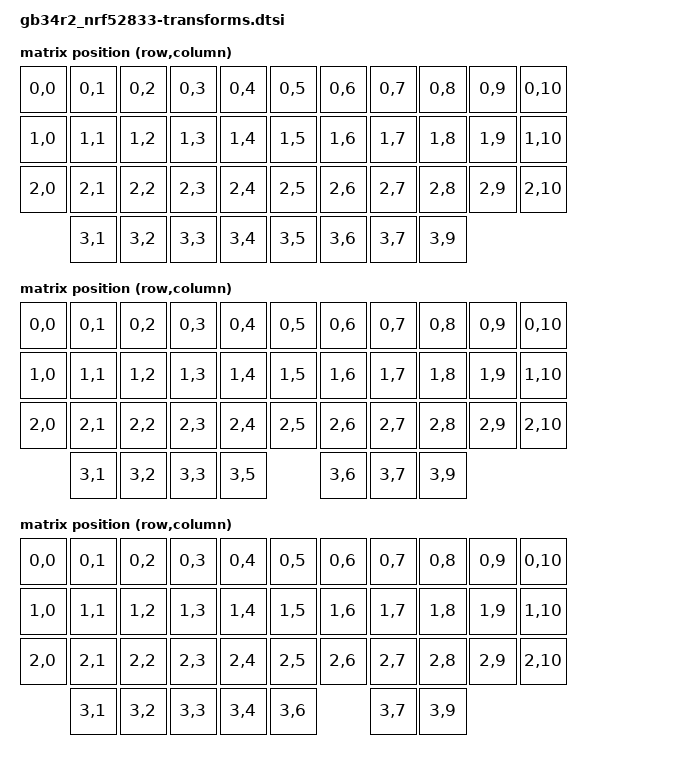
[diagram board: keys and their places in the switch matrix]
/*
 * Copyright (c) 2025 The ZMK Contributors
 *
 * SPDX-License-Identifier: MIT
 */

#include <dt-bindings/zmk/matrix_transform.h>

/ {

    /omit-if-no-ref/ transform_ortho_all1u: transform_ortho_all1u {
        compatible = "zmk,matrix-transform";
        columns = <11>;
        rows = <4>;
        map = <
    RC(0,0) RC(0,1) RC(0,2) RC(0,3) RC(0,4) RC(0,5) RC(0,6) RC(0,7) RC(0,8) RC(0,9) RC(0,10)
    RC(1,0) RC(1,1) RC(1,2) RC(1,3) RC(1,4) RC(1,5) RC(1,6) RC(1,7) RC(1,8) RC(1,9) RC(1,10)
    RC(2,0) RC(2,1) RC(2,2) RC(2,3) RC(2,4) RC(2,5) RC(2,6) RC(2,7) RC(2,8) RC(2,9) RC(2,10)
            RC(3,1) RC(3,2) RC(3,3) RC(3,4) RC(3,5) RC(3,6) RC(3,7) RC(3,9)
        >;
    };

    /omit-if-no-ref/ transform_ortho_1x2u: transform_ortho_1x2u {
        compatible = "zmk,matrix-transform";
        columns = <11>;
        rows = <4>;
        map = <
    RC(0,0) RC(0,1) RC(0,2) RC(0,3) RC(0,4) RC(0,5) RC(0,6) RC(0,7) RC(0,8) RC(0,9) RC(0,10)
    RC(1,0) RC(1,1) RC(1,2) RC(1,3) RC(1,4) RC(1,5) RC(1,6) RC(1,7) RC(1,8) RC(1,9) RC(1,10)
    RC(2,0) RC(2,1) RC(2,2) RC(2,3) RC(2,4) RC(2,5) RC(2,6) RC(2,7) RC(2,8) RC(2,9) RC(2,10)
            RC(3,1) RC(3,2) RC(3,3)     RC(3,5)     RC(3,6) RC(3,7) RC(3,9)
        >;
    };

    /omit-if-no-ref/ transform_ortho_1u1u2u: transform_ortho_1u1u2u {
        compatible = "zmk,matrix-transform";
        columns = <11>;
        rows = <4>;
        map = <
    RC(0,0) RC(0,1) RC(0,2) RC(0,3) RC(0,4) RC(0,5) RC(0,6) RC(0,7) RC(0,8) RC(0,9) RC(0,10)
    RC(1,0) RC(1,1) RC(1,2) RC(1,3) RC(1,4) RC(1,5) RC(1,6) RC(1,7) RC(1,8) RC(1,9) RC(1,10)
    RC(2,0) RC(2,1) RC(2,2) RC(2,3) RC(2,4) RC(2,5) RC(2,6) RC(2,7) RC(2,8) RC(2,9) RC(2,10)
            RC(3,1) RC(3,2) RC(3,3) RC(3,4)     RC(3,6)     RC(3,7) RC(3,9)
        >;
    };

    /omit-if-no-ref/ transform_ortho_2u1u1u: transform_ortho_2u1u1u {
        compatible = "zmk,matrix-transform";
        columns = <11>;
        rows = <4>;
        map = <
    RC(0,0) RC(0,1) RC(0,2) RC(0,3) RC(0,4) RC(0,5) RC(0,6) RC(0,7) RC(0,8) RC(0,9) RC(0,10)
    RC(1,0) RC(1,1) RC(1,2) RC(1,3) RC(1,4) RC(1,5) RC(1,6) RC(1,7) RC(1,8) RC(1,9) RC(1,10)
    RC(2,0) RC(2,1) RC(2,2) RC(2,3) RC(2,4) RC(2,5) RC(2,6) RC(2,7) RC(2,8) RC(2,9) RC(2,10)
            RC(3,1) RC(3,2)     RC(3,4)     RC(3,5) RC(3,6) RC(3,7) RC(3,9)
        >;
    };

    /omit-if-no-ref/ transform_ortho_2x2u: transform_ortho_2x2u {
        compatible = "zmk,matrix-transform";
        columns = <11>;
        rows = <4>;
        map = <
    RC(0,0) RC(0,1) RC(0,2) RC(0,3) RC(0,4) RC(0,5) RC(0,6) RC(0,7) RC(0,8) RC(0,9) RC(0,10)
    RC(1,0) RC(1,1) RC(1,2) RC(1,3) RC(1,4) RC(1,5) RC(1,6) RC(1,7) RC(1,8) RC(1,9) RC(1,10)
    RC(2,0) RC(2,1) RC(2,2) RC(2,3) RC(2,4) RC(2,5) RC(2,6) RC(2,7) RC(2,8) RC(2,9) RC(2,10)
            RC(3,1) RC(3,2)     RC(3,4)         RC(3,6)     RC(3,7) RC(3,9)
        >;
    };

    /omit-if-no-ref/ transform_ortho_1u1u1u3u: transform_ortho_1u1u1u3u {
        compatible = "zmk,matrix-transform";
        columns = <11>;
        rows = <4>;
        map = <
    RC(0,0) RC(0,1) RC(0,2) RC(0,3) RC(0,4) RC(0,5) RC(0,6) RC(0,7) RC(0,8) RC(0,9) RC(0,10)
    RC(1,0) RC(1,1) RC(1,2) RC(1,3) RC(1,4) RC(1,5) RC(1,6) RC(1,7) RC(1,8) RC(1,9) RC(1,10)
    RC(2,0) RC(2,1) RC(2,2) RC(2,3) RC(2,4) RC(2,5) RC(2,6) RC(2,7) RC(2,8) RC(2,9) RC(2,10)
            RC(3,1) RC(3,2) RC(3,3) RC(3,4)         RC(3,6)         RC(3,9)
        >;
    };

    /omit-if-no-ref/ transform_ortho_1u2u3u: transform_ortho_1u2u3u {
        compatible = "zmk,matrix-transform";
        columns = <11>;
        rows = <4>;
        map = <
    RC(0,0) RC(0,1) RC(0,2) RC(0,3) RC(0,4) RC(0,5) RC(0,6) RC(0,7) RC(0,8) RC(0,9) RC(0,10)
    RC(1,0) RC(1,1) RC(1,2) RC(1,3) RC(1,4) RC(1,5) RC(1,6) RC(1,7) RC(1,8) RC(1,9) RC(1,10)
    RC(2,0) RC(2,1) RC(2,2) RC(2,3) RC(2,4) RC(2,5) RC(2,6) RC(2,7) RC(2,8) RC(2,9) RC(2,10)
            RC(3,1) RC(3,2)     RC(3,5)             RC(3,6)         RC(3,9)
        >;
    };

    /omit-if-no-ref/ transform_ortho_3u1u1u1u: transform_ortho_3u1u1u1u {
        compatible = "zmk,matrix-transform";
        columns = <11>;
        rows = <4>;
        map = <
    RC(0,0) RC(0,1) RC(0,2) RC(0,3) RC(0,4) RC(0,5) RC(0,6) RC(0,7) RC(0,8) RC(0,9) RC(0,10)
    RC(1,0) RC(1,1) RC(1,2) RC(1,3) RC(1,4) RC(1,5) RC(1,6) RC(1,7) RC(1,8) RC(1,9) RC(1,10)
    RC(2,0) RC(2,1) RC(2,2) RC(2,3) RC(2,4) RC(2,5) RC(2,6) RC(2,7) RC(2,8) RC(2,9) RC(2,10)
            RC(3,1)         RC(3,3)         RC(3,5) RC(3,6) RC(3,7) RC(3,9)
        >;
    };

    /omit-if-no-ref/ transform_ortho_3u2u1u: transform_ortho_3u2u1u {
        compatible = "zmk,matrix-transform";
        columns = <11>;
        rows = <4>;
        map = <
    RC(0,0) RC(0,1) RC(0,2) RC(0,3) RC(0,4) RC(0,5) RC(0,6) RC(0,7) RC(0,8) RC(0,9) RC(0,10)
    RC(1,0) RC(1,1) RC(1,2) RC(1,3) RC(1,4) RC(1,5) RC(1,6) RC(1,7) RC(1,8) RC(1,9) RC(1,10)
    RC(2,0) RC(2,1) RC(2,2) RC(2,3) RC(2,4) RC(2,5) RC(2,6) RC(2,7) RC(2,8) RC(2,9) RC(2,10)
            RC(3,1)         RC(3,3)             RC(3,6)     RC(3,7) RC(3,9)
        >;
    };

    /omit-if-no-ref/ transform_ortho_2x3u: transform_ortho_2x3u {
        compatible = "zmk,matrix-transform";
        columns = <11>;
        rows = <4>;
        map = <
    RC(0,0) RC(0,1) RC(0,2) RC(0,3) RC(0,4) RC(0,5) RC(0,6) RC(0,7) RC(0,8) RC(0,9) RC(0,10)
    RC(1,0) RC(1,1) RC(1,2) RC(1,3) RC(1,4) RC(1,5) RC(1,6) RC(1,7) RC(1,8) RC(1,9) RC(1,10)
    RC(2,0) RC(2,1) RC(2,2) RC(2,3) RC(2,4) RC(2,5) RC(2,6) RC(2,7) RC(2,8) RC(2,9) RC(2,10)
            RC(3,1)         RC(3,3)                 RC(3,6)         RC(3,9)
        >;
    };

    /omit-if-no-ref/ transform_ortho_6u: transform_ortho_6u {
        compatible = "zmk,matrix-transform";
        columns = <11>;
        rows = <4>;
        map = <
    RC(0,0) RC(0,1) RC(0,2) RC(0,3) RC(0,4) RC(0,5) RC(0,6) RC(0,7) RC(0,8) RC(0,9) RC(0,10)
    RC(1,0) RC(1,1) RC(1,2) RC(1,3) RC(1,4) RC(1,5) RC(1,6) RC(1,7) RC(1,8) RC(1,9) RC(1,10)
    RC(2,0) RC(2,1) RC(2,2) RC(2,3) RC(2,4) RC(2,5) RC(2,6) RC(2,7) RC(2,8) RC(2,9) RC(2,10)
            RC(3,1)                     RC(3,5)                     RC(3,9)
        >;
    };

    /omit-if-no-ref/ transform_standard_all1u: transform_standard_all1u {
        compatible = "zmk,matrix-transform";
        columns = <11>;
        rows = <4>;
        map = <
    RC(0,0) RC(0,1) RC(0,2) RC(0,3) RC(0,4) RC(0,5) RC(0,6) RC(0,7) RC(0,8) RC(0,9) RC(0,10)
    RC(1,0)   RC(1,2)   RC(1,3) RC(1,4) RC(1,5) RC(1,6) RC(1,7) RC(1,8) RC(1,9)     RC(1,10)
    RC(2,0)     RC(2,1)   RC(2,2) RC(2,3) RC(2,4) RC(2,5) RC(2,6) RC(2,7) RC(2,8)   RC(2,9)
            RC(3,1) RC(3,2) RC(3,3) RC(3,4) RC(3,5) RC(3,6) RC(3,7) RC(3,9)
        >;
    };

    /omit-if-no-ref/ transform_standard_1x2u: transform_standard_1x2u {
        compatible = "zmk,matrix-transform";
        columns = <11>;
        rows = <4>;
        map = <
    RC(0,0) RC(0,1) RC(0,2) RC(0,3) RC(0,4) RC(0,5) RC(0,6) RC(0,7) RC(0,8) RC(0,9) RC(0,10)
    RC(1,0)   RC(1,2)   RC(1,3) RC(1,4) RC(1,5) RC(1,6) RC(1,7) RC(1,8) RC(1,9)     RC(1,10)
    RC(2,0)     RC(2,1)   RC(2,2) RC(2,3) RC(2,4) RC(2,5) RC(2,6) RC(2,7) RC(2,8)   RC(2,9)
            RC(3,1) RC(3,2) RC(3,3)     RC(3,5)     RC(3,6) RC(3,7) RC(3,9)
        >;
    };

    /omit-if-no-ref/ transform_standard_1u1u2u: transform_standard_1u1u2u {
        compatible = "zmk,matrix-transform";
        columns = <11>;
        rows = <4>;
        map = <
    RC(0,0) RC(0,1) RC(0,2) RC(0,3) RC(0,4) RC(0,5) RC(0,6) RC(0,7) RC(0,8) RC(0,9) RC(0,10)
    RC(1,0)   RC(1,2)   RC(1,3) RC(1,4) RC(1,5) RC(1,6) RC(1,7) RC(1,8) RC(1,9)     RC(1,10)
    RC(2,0)     RC(2,1)   RC(2,2) RC(2,3) RC(2,4) RC(2,5) RC(2,6) RC(2,7) RC(2,8)   RC(2,9)
            RC(3,1) RC(3,2) RC(3,3) RC(3,4)     RC(3,6)     RC(3,7) RC(3,9)
        >;
    };

    /omit-if-no-ref/ transform_standard_2u1u1u: transform_standard_2u1u1u {
        compatible = "zmk,matrix-transform";
        columns = <11>;
        rows = <4>;
        map = <
    RC(0,0) RC(0,1) RC(0,2) RC(0,3) RC(0,4) RC(0,5) RC(0,6) RC(0,7) RC(0,8) RC(0,9) RC(0,10)
    RC(1,0)   RC(1,2)   RC(1,3) RC(1,4) RC(1,5) RC(1,6) RC(1,7) RC(1,8) RC(1,9)     RC(1,10)
    RC(2,0)     RC(2,1)   RC(2,2) RC(2,3) RC(2,4) RC(2,5) RC(2,6) RC(2,7) RC(2,8)   RC(2,9)
            RC(3,1) RC(3,2)     RC(3,4)     RC(3,5) RC(3,6) RC(3,7) RC(3,9)
        >;
    };

    /omit-if-no-ref/ transform_standard_2x2u: transform_standard_2x2u {
        compatible = "zmk,matrix-transform";
        columns = <11>;
        rows = <4>;
        map = <
    RC(0,0) RC(0,1) RC(0,2) RC(0,3) RC(0,4) RC(0,5) RC(0,6) RC(0,7) RC(0,8) RC(0,9) RC(0,10)
    RC(1,0)   RC(1,2)   RC(1,3) RC(1,4) RC(1,5) RC(1,6) RC(1,7) RC(1,8) RC(1,9)     RC(1,10)
    RC(2,0)     RC(2,1)   RC(2,2) RC(2,3) RC(2,4) RC(2,5) RC(2,6) RC(2,7) RC(2,8)   RC(2,9)
            RC(3,1) RC(3,2)     RC(3,4)         RC(3,6)     RC(3,7) RC(3,9)
        >;
    };

    /omit-if-no-ref/ transform_standard_1u1u1u3u: transform_standard_1u1u1u3u {
        compatible = "zmk,matrix-transform";
        columns = <11>;
        rows = <4>;
        map = <
    RC(0,0) RC(0,1) RC(0,2) RC(0,3) RC(0,4) RC(0,5) RC(0,6) RC(0,7) RC(0,8) RC(0,9) RC(0,10)
    RC(1,0)   RC(1,2)   RC(1,3) RC(1,4) RC(1,5) RC(1,6) RC(1,7) RC(1,8) RC(1,9)     RC(1,10)
    RC(2,0)     RC(2,1)   RC(2,2) RC(2,3) RC(2,4) RC(2,5) RC(2,6) RC(2,7) RC(2,8)   RC(2,9)
            RC(3,1) RC(3,2) RC(3,3) RC(3,4)         RC(3,6)         RC(3,9)
        >;
    };

    /omit-if-no-ref/ transform_standard_1u2u3u: transform_standard_1u2u3u {
        compatible = "zmk,matrix-transform";
        columns = <11>;
        rows = <4>;
        map = <
    RC(0,0) RC(0,1) RC(0,2) RC(0,3) RC(0,4) RC(0,5) RC(0,6) RC(0,7) RC(0,8) RC(0,9) RC(0,10)
    RC(1,0)   RC(1,2)   RC(1,3) RC(1,4) RC(1,5) RC(1,6) RC(1,7) RC(1,8) RC(1,9)     RC(1,10)
    RC(2,0)     RC(2,1)   RC(2,2) RC(2,3) RC(2,4) RC(2,5) RC(2,6) RC(2,7) RC(2,8)   RC(2,9)
            RC(3,1) RC(3,2)     RC(3,5)             RC(3,6)         RC(3,9)
        >;
    };

    /omit-if-no-ref/ transform_standard_3u1u1u1u: transform_standard_3u1u1u1u {
        compatible = "zmk,matrix-transform";
        columns = <11>;
        rows = <4>;
        map = <
    RC(0,0) RC(0,1) RC(0,2) RC(0,3) RC(0,4) RC(0,5) RC(0,6) RC(0,7) RC(0,8) RC(0,9) RC(0,10)
    RC(1,0)   RC(1,2)   RC(1,3) RC(1,4) RC(1,5) RC(1,6) RC(1,7) RC(1,8) RC(1,9)     RC(1,10)
    RC(2,0)     RC(2,1)   RC(2,2) RC(2,3) RC(2,4) RC(2,5) RC(2,6) RC(2,7) RC(2,8)   RC(2,9)
            RC(3,1)         RC(3,3)         RC(3,5) RC(3,6) RC(3,7) RC(3,9)
        >;
    };

    /omit-if-no-ref/ transform_standard_3u2u1u: transform_standard_3u2u1u {
        compatible = "zmk,matrix-transform";
        columns = <11>;
        rows = <4>;
        map = <
    RC(0,0) RC(0,1) RC(0,2) RC(0,3) RC(0,4) RC(0,5) RC(0,6) RC(0,7) RC(0,8) RC(0,9) RC(0,10)
    RC(1,0)   RC(1,2)   RC(1,3) RC(1,4) RC(1,5) RC(1,6) RC(1,7) RC(1,8) RC(1,9)     RC(1,10)
    RC(2,0)     RC(2,1)   RC(2,2) RC(2,3) RC(2,4) RC(2,5) RC(2,6) RC(2,7) RC(2,8)   RC(2,9)
            RC(3,1)         RC(3,3)             RC(3,6)     RC(3,7) RC(3,9)
        >;
    };

    /omit-if-no-ref/ transform_standard_2x3u: transform_standard_2x3u {
        compatible = "zmk,matrix-transform";
        columns = <11>;
        rows = <4>;
        map = <
    RC(0,0) RC(0,1) RC(0,2) RC(0,3) RC(0,4) RC(0,5) RC(0,6) RC(0,7) RC(0,8) RC(0,9) RC(0,10)
    RC(1,0)   RC(1,2)   RC(1,3) RC(1,4) RC(1,5) RC(1,6) RC(1,7) RC(1,8) RC(1,9)     RC(1,10)
    RC(2,0)     RC(2,1)   RC(2,2) RC(2,3) RC(2,4) RC(2,5) RC(2,6) RC(2,7) RC(2,8)   RC(2,9)
            RC(3,1)         RC(3,3)                 RC(3,6)         RC(3,9)
        >;
    };

    /omit-if-no-ref/ transform_standard_6u: transform_standard_6u {
        compatible = "zmk,matrix-transform";
        columns = <11>;
        rows = <4>;
        map = <
    RC(0,0) RC(0,1) RC(0,2) RC(0,3) RC(0,4) RC(0,5) RC(0,6) RC(0,7) RC(0,8) RC(0,9) RC(0,10)
    RC(1,0)   RC(1,2)   RC(1,3) RC(1,4) RC(1,5) RC(1,6) RC(1,7) RC(1,8) RC(1,9)     RC(1,10)
    RC(2,0)     RC(2,1)   RC(2,2) RC(2,3) RC(2,4) RC(2,5) RC(2,6) RC(2,7) RC(2,8)   RC(2,9)
            RC(3,1)                     RC(3,5)                     RC(3,9)
        >;
    };

};
